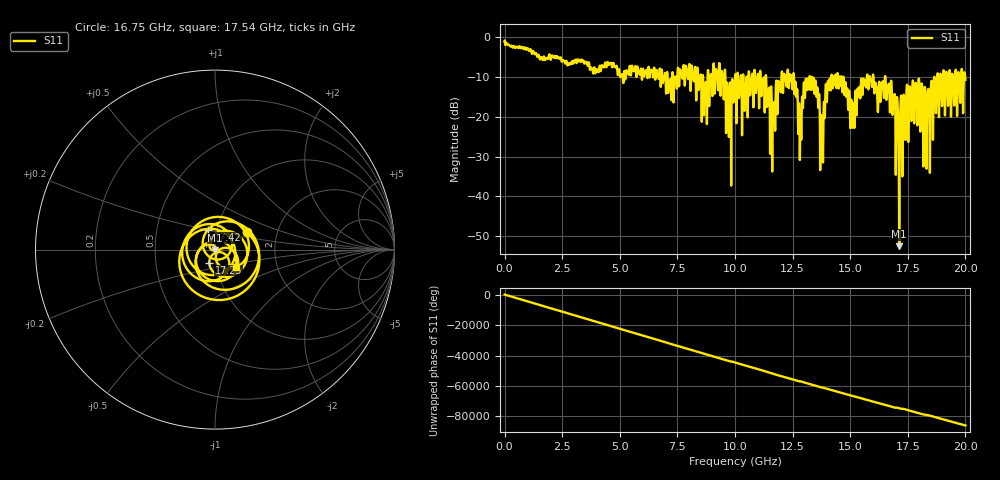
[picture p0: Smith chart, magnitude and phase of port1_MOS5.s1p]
! MS46122B
! 2250307/22442219
! 6/14/2025 10:19:13 AM
! C:\USERS\SPARKY\DOCUMENTS\VNA_DATA\JUNE14_2025\295K\PORT1_MOS5.S1P
! CHANNEL.1
! TR.MEASUREMENT
! RAW.DATA
# GHZ S RI R 50.0
! FREQ.GHZ  S11RE  S11IM
!; PortSelection: Port_1
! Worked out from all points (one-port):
!   10001 points, 1 MHz to 20 GHz, reference 50 ohm
!   lowest |S11| = -52.5 dB at 17.13 GHz (marker M1), VSWR 1.00, Z = 50.1 - j0.207 ohm
!   |S11| at or under -10 dB: 13.33 GHz to 14.18 GHz (849.3 MHz wide, 6.17 % of centre); 14.71 GHz to 15.72 GHz (1.013 GHz wide, 6.66 % of centre); 16.53 GHz to 18.65 GHz (2.118 GHz wide, 12 % of centre) (the widest 3 of 75)
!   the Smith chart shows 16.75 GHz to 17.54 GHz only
!   S11 on the Smith chart (normalised r, x): 16.75 GHz: 1.40, +0.28; 17.25 GHz: 0.93, -0.13; 17.42 GHz: 0.90, +0.20; 17.54 GHz: 1.24, -0.24
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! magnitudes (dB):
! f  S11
! 1 MHz  -1.0
! 2.501 GHz  -6.0
! 5.001 GHz  -9.5
! 7.501 GHz  -9.6
! 10 GHz  -10.2
! 11.17 GHz  -12.8
! 11.67 GHz  -17.9
! 11.96 GHz  -11.8
! 12.5 GHz  -12.9
! 12.82 GHz  -30.9
! 13.24 GHz  -9.7
! 13.57 GHz  -12.6
! 13.77 GHz  -24.8
! 14.02 GHz  -11.6
! 14.27 GHz  -9.9
! 15 GHz  -22.0
! 15.81 GHz  -11.0
! 16.75 GHz  -13.9
! 17.13 GHz  -52.5
! 17.19 GHz  -16.0
! 17.25 GHz  -22.0
! 17.42 GHz  -18.6
! 17.5 GHz  -16.5
! 17.54 GHz  -16.5
! 18.04 GHz  -23.3
! 18.38 GHz  -13.0
! 18.72 GHz  -19.0
! 20 GHz  -10.7
